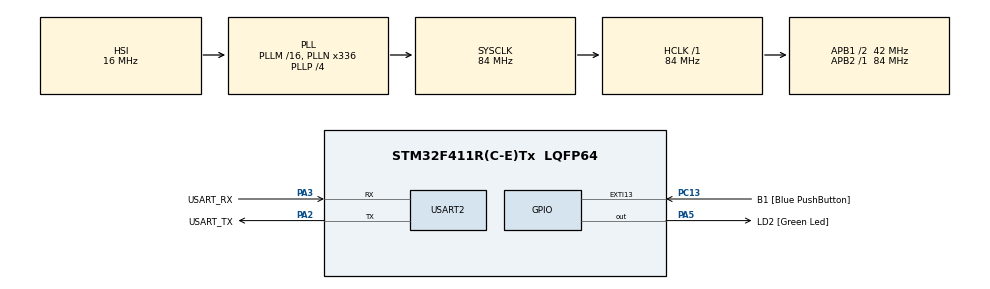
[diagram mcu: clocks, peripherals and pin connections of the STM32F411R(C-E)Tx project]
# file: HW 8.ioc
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Mcu.Family=STM32F4
Mcu.Name=STM32F411R(C-E)Tx
Mcu.Package=LQFP64
NVIC.PriorityGroup=NVIC_PRIORITYGROUP_0
PA13.GPIO_Label=TMS
PA13.Mode=Serial_Wire
PA13.Signal=SYS_JTMS-SWDIO
PA14.GPIO_Label=TCK
PA14.Mode=Serial_Wire
PA14.Signal=SYS_JTCK-SWCLK
PA2.GPIO_Label=USART_TX
PA2.Mode=Asynchronous
PA2.Signal=USART2_TX
PA3.GPIO_Label=USART_RX
PA3.Mode=Asynchronous
PA3.Signal=USART2_RX
PA5.GPIO_Label=LD2 [Green Led]
PA5.Signal=GPIO_Output
PB3.GPIO_Label=SWO
PB3.Signal=SYS_JTDO-SWO
PC13-ANTI_TAMP.GPIO_Label=B1 [Blue PushButton]
PC13-ANTI_TAMP.GPIO_ModeDefaultEXTI=GPIO_MODE_IT_FALLING
PC13-ANTI_TAMP.Signal=GPXTI13
PC14-OSC32_IN.Mode=LSE-External-Oscillator
PC14-OSC32_IN.Signal=RCC_OSC32_IN
PC15-OSC32_OUT.Mode=LSE-External-Oscillator
PC15-OSC32_OUT.Signal=RCC_OSC32_OUT
PH0\ -\ OSC_IN.Mode=HSE-External-Clock-Source
PH0\ -\ OSC_IN.Signal=RCC_OSC_IN
PH1\ -\ OSC_OUT.Mode=HSE-External-Clock-Source
PH1\ -\ OSC_OUT.Signal=RCC_OSC_OUT
ProjectManager.HeapSize=0x200
ProjectManager.StackSize=0x400
ProjectManager.TargetToolchain=STM32CubeIDE
RCC.48MHZClocksFreq_Value=84000000
RCC.AHBFreq_Value=84000000
RCC.APB1CLKDivider=RCC_HCLK_DIV2
RCC.APB1Freq_Value=42000000
RCC.APB1TimFreq_Value=84000000
RCC.APB2Freq_Value=84000000
RCC.APB2TimFreq_Value=84000000
RCC.CortexFreq_Value=84000000
RCC.FLatency-AdvancedSettings=FLASH_LATENCY_2
RCC.HCLKFreq_Value=84000000
RCC.HSE_VALUE=8000000
RCC.HSI_VALUE=16000000
RCC.PLLN=336
RCC.PLLP=RCC_PLLP_DIV4
RCC.SYSCLKFreq_VALUE=84000000
RCC.SYSCLKSource=RCC_SYSCLKSOURCE_PLLCLK
RCC.VCOOutputFreq_Value=336000000
USART2.VirtualMode=VM_ASYNC
board=NUCLEO-F411RE

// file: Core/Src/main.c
/* USER CODE BEGIN Header */
/**
  ******************************************************************************
  * @file           : main.c
  * @brief          : Main program body
  ******************************************************************************
  * @attention
  *
  * Copyright (c) 2026 STMicroelectronics.
  * All rights reserved.
  *
  * This software is licensed under terms that can be found in the LICENSE file
  * in the root directory of this software component.
  * If no LICENSE file comes with this software, it is provided AS-IS.
  *
  ******************************************************************************
  */
/* USER CODE END Header */
#include "main.h"

/* USER CODE BEGIN Includes */
// =======================================================================
#include "crypto.h"
// =======================================================================
/* USER CODE END Includes */

/* USER CODE BEGIN PTD */
// =======================================================================
typedef enum {FAILED = 0, PASSED = !FAILED} TestStatus;
// =======================================================================
/* USER CODE END PTD */

UART_HandleTypeDef huart2;

/* USER CODE BEGIN PV */
// =======================================================================

/*Это тот "текст", который нужно защитить.
 * Это 32 байта данных, каждый из которых равен 0x44 (буква D в ASCII)*/
const uint8_t PlainText[] =
  {
    0x44, 0x44, 0x44, 0x44, 0x44, 0x44, 0x44, 0x44, 0x44, 0x44, 0x44, 0x44, 0x44, 0x44, 0x44, 0x44,
    0x44, 0x44, 0x44, 0x44, 0x44, 0x44, 0x44, 0x44, 0x44, 0x44, 0x44, 0x44, 0x44, 0x44, 0x44, 0x44,
  };
/*Это секретная информация, которая определяет, как именно будет зашифрован текст.
 * Разные ключи = разный способ запутывания.
 * Ключ знает только отправитель и получатель → безопасно*/
const uint8_t Key[] =
  {
    0xff, 0xfe, 0xfd, 0xfc, 0xfb, 0xfa, 0xf9, 0xf8, 0xf7, 0xf6, 0xf5, 0xf4, 0xf3, 0xf2, 0xf1, 0xf0,
    0x22, 0x22, 0x22, 0x22, 0x22, 0x22, 0x22, 0x22, 0x22, 0x22, 0x22, 0x22, 0x22, 0x22, 0x22, 0x22,
  };
/* Tweak (Sequence Number) for XTS: 16 bytes */
/*Это дополнительный параметр, чтобы одинаковые блоки данных шифровались по-разному*/
const uint8_t SequenceNumber[] =
  {
    0x33, 0x33, 0x33, 0x33, 0x33, 0x00, 0x00, 0x00, 0x00, 0x00, 0x00, 0x00, 0x00, 0x00, 0x00, 0x00,
    0x00, 0x00, 0x00, 0x00, 0x00, 0x00, 0x00, 0x00, 0x00, 0x00, 0x00, 0x00, 0x00, 0x00, 0x00, 0x00,
  };
/* Expected ciphertext (from IEEE P1619 test vector) */
/*Это результат шифрования — бессмысленный набор байтов.*/
const uint8_t CipherText[] =
  {
    0xaf, 0x85, 0x33, 0x6b, 0x59, 0x7a, 0xfc, 0x1a, 0x90, 0x0b, 0x2e, 0xb2, 0x1e, 0xc9, 0x49, 0xd2,
    0x92, 0xdf, 0x4c, 0x04, 0x7e, 0x0b, 0x21, 0x53, 0x21, 0x86, 0xa5, 0x97, 0x1a, 0x22, 0x7a, 0x89,
  };

int32_t check; /* check whether obtained ciphertext during encryption
  * and obtained plaintext during decryption are equal
  * to expected vectors */

uint8_t temp[512]; /* temporary buffer to store result */
static GPIO_InitTypeDef  GPIO_InitStruct;
// =======================================================================
/* USER CODE END PV */

void SystemClock_Config(void);
static void MX_GPIO_Init(void);
static void MX_USART2_UART_Init(void);

/* USER CODE BEGIN PFP */
// =======================================================================
int32_t STM32_AES_XTS_Encrypt(const uint8_t *InputMessage,
                              uint32_t   InputMessageLength,
                              const uint8_t *AES_Key,
                              uint32_t   KeyLength,
                              const uint8_t *Tweak,
                              uint8_t   *OutputMessage);

int32_t STM32_AES_XTS_Decrypt(const uint8_t *InputMessage,
                              uint32_t   InputMessageLength,
                              const uint8_t *AES_Key,
                              uint32_t   KeyLength,
                              const uint8_t *Tweak,
                              uint8_t   *OutputMessage);

TestStatus Buffercmp(const uint8_t* pBuffer,
                     uint8_t* pBuffer1,
                     uint16_t BufferLength);
//static void SystemClock_Config(void);
static void Led_Config(void);
static void Led_Toggle( __IO uint32_t toggle_delay);
//static void Error_Handler(void);
// =======================================================================
/* USER CODE END PFP */

int main(void)
{

  /* USER CODE BEGIN 1 */
// =======================================================================
	int32_t status = AES_SUCCESS;
// =======================================================================
  /* USER CODE END 1 */

  /* MCU Configuration--------------------------------------------------------*/

  /* Reset of all peripherals, Initializes the Flash interface and the Systick. */
  HAL_Init();

  /* Configure the system clock */
  SystemClock_Config();

  /* Initialize all configured peripherals */
  MX_GPIO_Init();
  MX_USART2_UART_Init();

  /* USER CODE BEGIN 2 */
  // =======================================================================
  /* Configure the green led */
  Led_Config();

  /* Toggle the green led before starting the algorithm */
  Led_Toggle(500);

  /* Enable CRC clock */
  __CRC_CLK_ENABLE();

  /* Encrypt DATA with AES in XTS mode */
  status = STM32_AES_XTS_Encrypt(PlainText, sizeof(PlainText), Key, CRL_AES128_KEY, SequenceNumber, temp);

  if (status ==  AES_SUCCESS)
  {
    /* do a memory compare for check accordance between calculated ciphertext
    * and expected ciphertext */
    if (Buffercmp(CipherText, temp, CRL_AES_BLOCK) == PASSED)
    {
    	/* Encryption OK */
    }
    else
    {
      Error_Handler();
    }
  }
  else
  {
    Error_Handler();
  }

  /* Decrypt DATA with AES in XTS mode */
  status = STM32_AES_XTS_Decrypt(CipherText, sizeof(CipherText), Key,
                                 CRL_AES128_KEY, SequenceNumber, temp);

  if (status == AES_SUCCESS)
  {
    /* do a memory compare for check accordance between calculated plaintext
    * and expected plaintext */
	  /* Compare FULL plaintext */
    if (Buffercmp(PlainText, temp, CRL_AES_BLOCK) == PASSED)
    {
    	/* Decryption OK */
    }
    else
    {
      Error_Handler();
    }

  }
  else
  {
    Error_Handler();
  }
  // =======================================================================
  /* USER CODE END 2 */

  /* Infinite loop */
  /* USER CODE BEGIN WHILE */
  // =======================================================================
  /* Turn on the green led in case of AES ECB operations are succssfuls*/
  HAL_GPIO_WritePin(GPIOA, GPIO_PIN_5, GPIO_PIN_SET);
  // =======================================================================
  while (1)
  {
    /* USER CODE END WHILE */

  }
}

void SystemClock_Config(void)
{
  RCC_OscInitTypeDef RCC_OscInitStruct = {0};
  RCC_ClkInitTypeDef RCC_ClkInitStruct = {0};

  /** Configure the main internal regulator output voltage
  */
  __HAL_RCC_PWR_CLK_ENABLE();
  __HAL_PWR_VOLTAGESCALING_CONFIG(PWR_REGULATOR_VOLTAGE_SCALE1);

  /** Initializes the RCC Oscillators according to the specified parameters
  * in the RCC_OscInitTypeDef structure.
  */
  RCC_OscInitStruct.OscillatorType = RCC_OSCILLATORTYPE_HSI;
  RCC_OscInitStruct.HSIState = RCC_HSI_ON;
  RCC_OscInitStruct.HSICalibrationValue = RCC_HSICALIBRATION_DEFAULT;
  RCC_OscInitStruct.PLL.PLLState = RCC_PLL_ON;
  RCC_OscInitStruct.PLL.PLLSource = RCC_PLLSOURCE_HSI;
  RCC_OscInitStruct.PLL.PLLM = 16;
  RCC_OscInitStruct.PLL.PLLN = 336;
  RCC_OscInitStruct.PLL.PLLP = RCC_PLLP_DIV4;
  RCC_OscInitStruct.PLL.PLLQ = 4;
  if (HAL_RCC_OscConfig(&RCC_OscInitStruct) != HAL_OK)
  {
    Error_Handler();
  }

  /** Initializes the CPU, AHB and APB buses clocks
  */
  RCC_ClkInitStruct.ClockType = RCC_CLOCKTYPE_HCLK|RCC_CLOCKTYPE_SYSCLK
                              |RCC_CLOCKTYPE_PCLK1|RCC_CLOCKTYPE_PCLK2;
  RCC_ClkInitStruct.SYSCLKSource = RCC_SYSCLKSOURCE_PLLCLK;
  RCC_ClkInitStruct.AHBCLKDivider = RCC_SYSCLK_DIV1;
  RCC_ClkInitStruct.APB1CLKDivider = RCC_HCLK_DIV2;
  RCC_ClkInitStruct.APB2CLKDivider = RCC_HCLK_DIV1;

  if (HAL_RCC_ClockConfig(&RCC_ClkInitStruct, FLASH_LATENCY_2) != HAL_OK)
  {
    Error_Handler();
  }
}

static void MX_USART2_UART_Init(void)
{

  huart2.Instance = USART2;
  huart2.Init.BaudRate = 115200;
  huart2.Init.WordLength = UART_WORDLENGTH_8B;
  huart2.Init.StopBits = UART_STOPBITS_1;
  huart2.Init.Parity = UART_PARITY_NONE;
  huart2.Init.Mode = UART_MODE_TX_RX;
  huart2.Init.HwFlowCtl = UART_HWCONTROL_NONE;
  huart2.Init.OverSampling = UART_OVERSAMPLING_16;
  if (HAL_UART_Init(&huart2) != HAL_OK)
  {
    Error_Handler();
  }

}

static void MX_GPIO_Init(void)
{
  GPIO_InitTypeDef GPIO_InitStruct = {0};

  /* GPIO Ports Clock Enable */
  __HAL_RCC_GPIOC_CLK_ENABLE();
  __HAL_RCC_GPIOH_CLK_ENABLE();
  __HAL_RCC_GPIOA_CLK_ENABLE();
  __HAL_RCC_GPIOB_CLK_ENABLE();

  /*Configure GPIO pin Output Level */
  HAL_GPIO_WritePin(LD2_GPIO_Port, LD2_Pin, GPIO_PIN_RESET);

  /*Configure GPIO pin : B1_Pin */
  GPIO_InitStruct.Pin = B1_Pin;
  GPIO_InitStruct.Mode = GPIO_MODE_IT_FALLING;
  GPIO_InitStruct.Pull = GPIO_NOPULL;
  HAL_GPIO_Init(B1_GPIO_Port, &GPIO_InitStruct);

  /*Configure GPIO pin : LD2_Pin */
  GPIO_InitStruct.Pin = LD2_Pin;
  GPIO_InitStruct.Mode = GPIO_MODE_OUTPUT_PP;
  GPIO_InitStruct.Pull = GPIO_NOPULL;
  GPIO_InitStruct.Speed = GPIO_SPEED_FREQ_LOW;
  HAL_GPIO_Init(LD2_GPIO_Port, &GPIO_InitStruct);

}

/* USER CODE BEGIN 4 */
// =======================================================================
/**
  * @brief  AES-128-XTS Encryption
  * @param  InputMessage: pointer to input message to be encrypted
  * @param  InputMessageLength: input data message length in byte
  * @param  AES_Key: pointer to the AES key to be used in the operation
  * @param  KeyLength: length of the AES key
  * @param  Tweak: Initialization vector
  * @param  OutputMessage: pointer to output parameter that will handle the encrypted message
  * @retval error status: can be AES_SUCCESS if success or one of
  *         AES_ERR_BAD_INPUT_SIZE, AES_ERR_BAD_OPERATION, AES_ERR_BAD_CONTEXT
  *         AES_ERR_BAD_PARAMETER if error occured.
  */
int32_t STM32_AES_XTS_Encrypt(const uint8_t *InputMessage,
                              uint32_t   InputMessageLength,
                              const uint8_t *AES_Key,
                              uint32_t   KeyLength,
                              const uint8_t *Tweak,
                              uint8_t   *OutputMessage)
{
	/*Инициализация контекста*/
  /* AES context, error status and output length */
  AESXTSctx_stt AESctx;
  uint32_t error_status = AES_SUCCESS;
  int32_t outputLength = 0;

  /* Set flag field to default value */
  AESctx.mFlags = E_SK_DEFAULT; // стандартные настройки
  /* Set the key size in AES status */
  AESctx.mKeySize = KeyLength; // CRL_AES128_KEY = 32 байта (256 бит для XTS)
  /* Set the Tweak size in AES status */
  AESctx.mTweakSize = CRL_AES_BLOCK; // 16 байт (размер tweak)
  /* Initialize the operation, by passing key and Tweak */
  error_status = AES_XTS_Encrypt_Init(&AESctx, AES_Key, Tweak);

  /* check for initialization errors */
  if (error_status == AES_SUCCESS)
  {
    /* Encrypt Data in XTS mode */
    error_status = AES_XTS_Encrypt_Append(&AESctx, InputMessage,
                                          InputMessageLength, OutputMessage, &outputLength);

    /* check for encryption errors in XTS mode */
    if (error_status == AES_SUCCESS)
    {
      /* Finalize data */
      error_status = AES_XTS_Encrypt_Finish(&AESctx, OutputMessage,
                                            &outputLength);
    }
  }

  return error_status;
}

/**
  * @brief  AES-128-XTS Decryption
  * @param  InputMessage: pointer to input message to be decrypted
  * @param  InputMessageLength: input data message length in byte
  * @param  AES_Key: pointer to the AES key to be used in the operation
  * @param  KeyLength: length of the AES key
  * @param  Tweak: Initialization vector
  * @param  OutputMessage: pointer to output parameter that will handle the decrypted message
  * @retval error status: can be AES_SUCCESS if success or one of
  *         AES_ERR_BAD_INPUT_SIZE, AES_ERR_BAD_OPERATION, AES_ERR_BAD_CONTEXT
  *         AES_ERR_BAD_PARAMETER if error occured.
  */
int32_t STM32_AES_XTS_Decrypt(const uint8_t *InputMessage,
                              uint32_t   InputMessageLength,
                              const uint8_t *AES_Key,
                              uint32_t   KeyLength,
                              const uint8_t *Tweak,
                              uint8_t   *OutputMessage)
{
  /* AES context, error status and output length */
  AESXTSctx_stt AESctx;
  uint32_t error_status = AES_SUCCESS;
  int32_t outputLength = 0;

  /* Set flag field to default value */
  AESctx.mFlags = E_SK_DEFAULT;
  /* Set key size in AES status */
  AESctx.mKeySize = KeyLength;
  /* Set the Tweak size in AES status */
  AESctx.mTweakSize = CRL_AES_BLOCK;
  /* Initialize the operation, by passing the key and Tweak */
  error_status = AES_XTS_Decrypt_Init(&AESctx, AES_Key, Tweak);

  /* check for initialization errors */
  if (error_status == AES_SUCCESS)
  {
    /* Decrypt Data in XTS mode */
    error_status = AES_XTS_Decrypt_Append(&AESctx, InputMessage,
                                          InputMessageLength, OutputMessage, &outputLength);

    /* check for decryption errors in XTS mode */
    if (error_status == AES_SUCCESS)
    {
      /* Finalize data */
      error_status = AES_XTS_Decrypt_Finish(&AESctx, OutputMessage,
                                            &outputLength);
    }
  }

  return error_status;
}

TestStatus Buffercmp(const uint8_t* pBuffer, uint8_t* pBuffer1, uint16_t BufferLength)
{
  while (BufferLength--)
  {
    if (*pBuffer != *pBuffer1)
    {
      return FAILED;
    }

    pBuffer++;
    pBuffer1++;
  }

  return PASSED;
}

/**
  * @brief  Configures the green led.
  * @param  None
  * @retval None
  */
static void Led_Config(void)
{
  /* -1- Enable each GPIO Clock (to be able to program the configuration registers) */
  __HAL_RCC_GPIOA_CLK_ENABLE();

  /* -2- Configure IOs in output push-pull mode to drive external LEDs */
  GPIO_InitStruct.Mode = GPIO_MODE_OUTPUT_PP;
  GPIO_InitStruct.Pull = GPIO_PULLUP;
  GPIO_InitStruct.Speed = GPIO_SPEED_HIGH;
  GPIO_InitStruct.Pin = GPIO_PIN_5;
  HAL_GPIO_Init(GPIOA, &GPIO_InitStruct);
}

/**
  * @brief  Toggles the green led three times.
  * @param[in]  toggle_delay : toggle frequency
  * @retval None
  */
static void Led_Toggle(__IO uint32_t toggle_delay)
{
    for (int i = 0; i < 6; i++)
    {
        HAL_GPIO_TogglePin(GPIOA, GPIO_PIN_5);
        HAL_Delay(toggle_delay);
    }
}
// =======================================================================
/* USER CODE END 4 */

void Error_Handler(void)
{
  /* USER CODE BEGIN Error_Handler_Debug */
  /* User can add his own implementation to report the HAL error return state */
  __disable_irq();
  while (1)
  {
      HAL_GPIO_TogglePin(GPIOA, GPIO_PIN_5);
      HAL_Delay(250);
      HAL_GPIO_TogglePin(GPIOA, GPIO_PIN_5);
      HAL_Delay(250);
  }
  /* USER CODE END Error_Handler_Debug */
}
